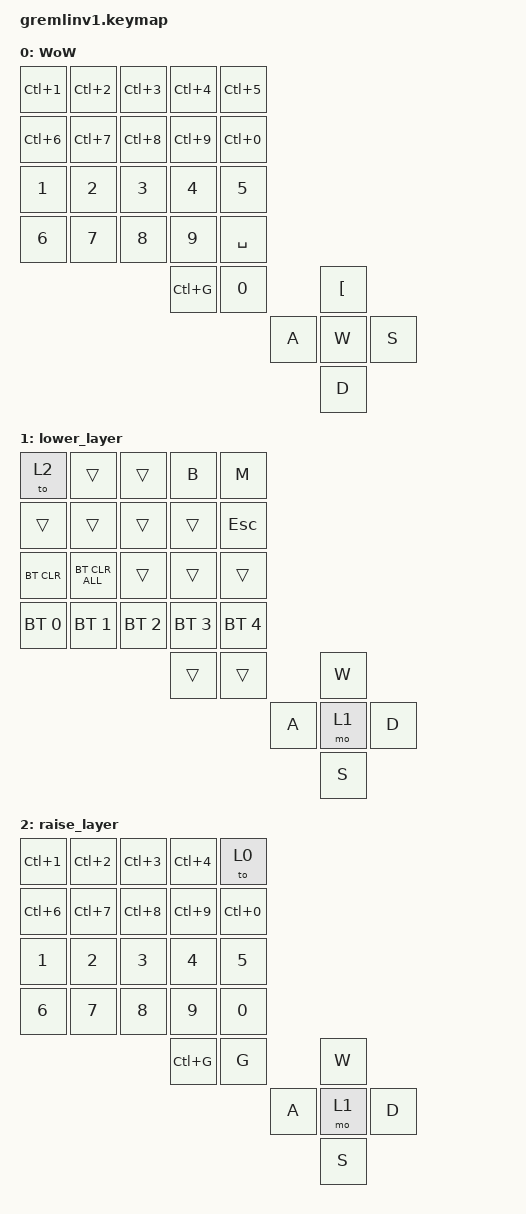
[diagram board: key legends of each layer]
/*
 * Copyright (c) 2020 The ZMK Contributors
 *
 * SPDX-License-Identifier: MIT
 */

#include <behaviors.dtsi>
#include <dt-bindings/zmk/bt.h>
#include <dt-bindings/zmk/keys.h>

// Gremlin V1 Setup

/ {
    combos {
        compatible = "zmk,combos";

        Layers {
            bindings = <&mo 1>;
            key-positions = <21 20>;
        };
    };

    keymap {
        compatible = "zmk,keymap";

        WoW {
            // -----------------------------------------------------------------------------------------
            // |  Q  |  W  |  E  |  R  |  T  |  
            // |  Q  |  W  |  E  |  R  |  T  |  
            // |  A  |  S  |  D  |  F  |  G  |   
            // |  Z  |  X  |  C  |  V  |  B  |  
            //                   | GUI | LWR | 

            bindings = <
&kp LC(N1)    &kp LC(N2)    &kp LC(N3)    &kp LC(N4)    &kp LC(N5)
&kp LC(N6)    &kp LC(N7)    &kp LC(N8)    &kp LC(N9)    &kp LC(N0)
&kp NUMBER_1  &kp NUMBER_2  &kp NUMBER_3  &kp NUMBER_4  &kp NUMBER_5
&kp NUMBER_6  &kp NUMBER_7  &kp NUMBER_8  &kp NUMBER_9  &kp SPACE
                                          &kp LC(G)     &kp N0               &kp LEFT_BRACKET
                                                                      &kp A  &kp W             &kp S
                                                                             &kp D
            >;
        };

        lower_layer {
            // -----------------------------------------------------------------------------------------
            // |  Q  |  W  |  E  |  R  |  T  |  
            // |  Q  |  W  |  E  |  R  |  T  |  
            // |  A  |  S  |  D  |  F  |  G  |   
            // |  Z  |  X  |  C  |  V  |  B  |  
            //                   | GUI | LWR | 

            bindings = <
&to 2         &trans          &trans        &kp B         &kp M
&trans        &trans          &trans        &trans        &kp ESCAPE
&bt BT_CLR    &bt BT_CLR_ALL  &trans        &trans        &trans
&bt BT_SEL 0  &bt BT_SEL 1    &bt BT_SEL 2  &bt BT_SEL 3  &bt BT_SEL 4
                                            &trans        &trans               &kp W
                                                                        &kp A  &mo 1  &kp D
                                                                               &kp S
            >;
        };

        raise_layer {
            // -----------------------------------------------------------------------------------------
            // |  Q  |  W  |  E  |  R  |  T  |  
            // |  Q  |  W  |  E  |  R  |  T  |  
            // |  A  |  S  |  D  |  F  |  G  |   
            // |  Z  |  X  |  C  |  V  |  B  |  
            //                   | GUI | LWR | 

            bindings = <
&kp LC(N1)  &kp LC(N2)  &kp LC(N3)  &kp LC(N4)  &to 0
&kp LC(N6)  &kp LC(N7)  &kp LC(N8)  &kp LC(N9)  &kp LC(N0)
&kp 1       &kp 2       &kp 3       &kp 4       &kp 5
&kp 6       &kp 7       &kp 8       &kp 9       &kp 0
                                    &kp LC(G)   &kp G              &kp W
                                                            &kp A  &mo 1  &kp D
                                                                   &kp S
            >;
        };
    };
};
